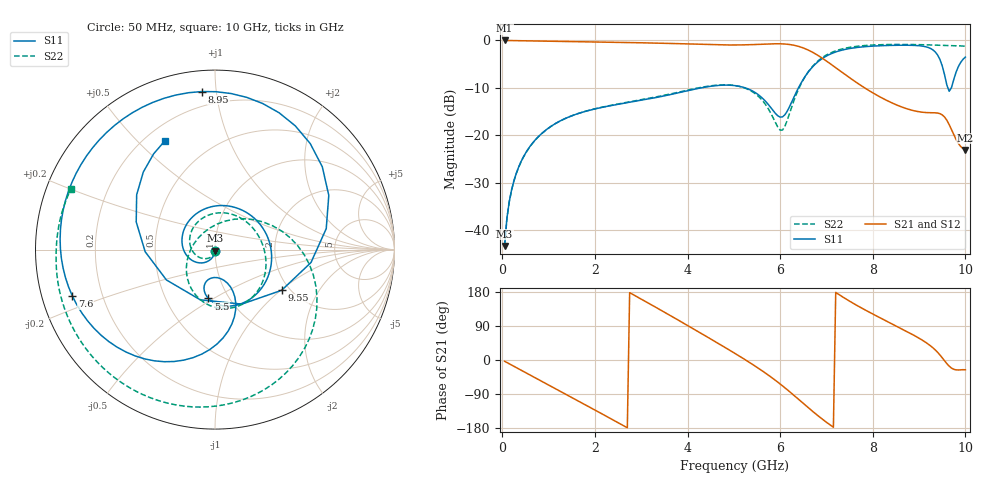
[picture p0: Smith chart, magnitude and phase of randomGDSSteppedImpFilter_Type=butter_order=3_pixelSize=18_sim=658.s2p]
! freq	dB(S11)	phase(S11)	dB(S12)	phase(S12)
!  dB(S21)	phase(S21)	dB(S22)	phase(S22)
!S-par simulation data
#  GHz  S  DB  R 50
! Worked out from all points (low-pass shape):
!   200 points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, 50 MHz to 10 GHz, reference 50 ohm
!   highest |S21| = -0.01 dB at 50 MHz (marker M1); lowest = -23.1 dB at 10 GHz (marker M2)
!   |S21| within 3 dB of the highest: start of sweep to 6.792 GHz
!   lowest |S11| = -43.3 dB at 50 MHz (marker M3), VSWR 1.01, Z = 50 - j0.686 ohm
!   |S11| at or under -10 dB: start of sweep to 4.289 GHz; 5.248 GHz to 6.395 GHz (1.147 GHz wide, 19.7 % of centre); 9.623 GHz to 9.695 GHz (72.28 MHz wide, 0.748 % of centre)
!   |S22| runs from -43.3 to -0.8 dB; largest |S21 - S12| = 0
!   S11 on the Smith chart (normalised r, x): 50 MHz: 1.00, -0.01; 5.5 GHz: 0.80, -0.47; 7.6 GHz: 0.09, -0.16; 8.95 GHz: 0.11, +0.91; 9.55 GHz: 1.81, -1.02; 10 GHz: 0.28, +0.61
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0.05  -43.28 -89.0  -0.01 -3.4  -0.01 -3.4  -43.33 -90.2
0.2  -31.51 -99.7  -0.03 -13.3  -0.03 -13.3  -31.55 -105.3
0.5  -23.78 -116.3  -0.07 -33.1  -0.07 -33.1  -23.82 -130.4
1.15  -17.49 -150.2  -0.17 -75.9  -0.17 -75.9  -17.50 176.7
1.75  -15.06 179.1  -0.28 -115.4  -0.28 -115.4  -15.05 128.1
2.6  -13.28 130.7  -0.42 -172.1  -0.42 -172.1  -13.20 63.3
3.4  -11.87 72.0  -0.58 133.2  -0.58 133.2  -11.75 13.2
4.2  -10.17 2.9  -0.80 76.9  -0.80 76.9  -10.06 -29.4
5.05  -9.55 -67.1  -0.96 15.5  -0.96 15.5  -9.55 -80.4
5.5  -11.23 -97.7  -0.84 -19.3  -0.84 -19.3  -11.51 -116.9
6.05  -16.10 -85.6  -0.73 -68.1  -0.73 -68.1  -18.88 124.1
6.35  -10.87 -67.3  -1.13 -98.7  -1.13 -98.7  -11.34 38.1
6.7  -5.57 -88.8  -2.49 -135.4  -2.49 -135.4  -5.46 -9.1
7.1  -2.80 -122.8  -5.03 -173.2  -5.03 -173.2  -2.58 -47.9
7.6  -1.56 -162.0  -8.54 148.0  -8.54 148.0  -1.31 -83.6
8.35  -1.05 143.9  -12.87 99.4  -12.87 99.4  -0.86 -123.7
8.95  -1.08 94.7  -14.94 61.0  -14.94 61.0  -0.88 -151.6
9.35  -2.44 37.7  -15.25 26.5  -15.25 26.5  -0.99 -170.2
9.55  -7.23 -31.4  -16.13 -1.9  -16.13 -1.9  -1.06 -179.7
9.65  -10.71 -106.4  -17.73 -16.3  -17.73 -16.3  -1.09 175.5
9.75  -8.20 -178.2  -19.88 -24.6  -19.88 -24.6  -1.11 170.4
10  -3.51 114.6  -23.08 -25.8  -23.08 -25.8  -1.20 157.2
